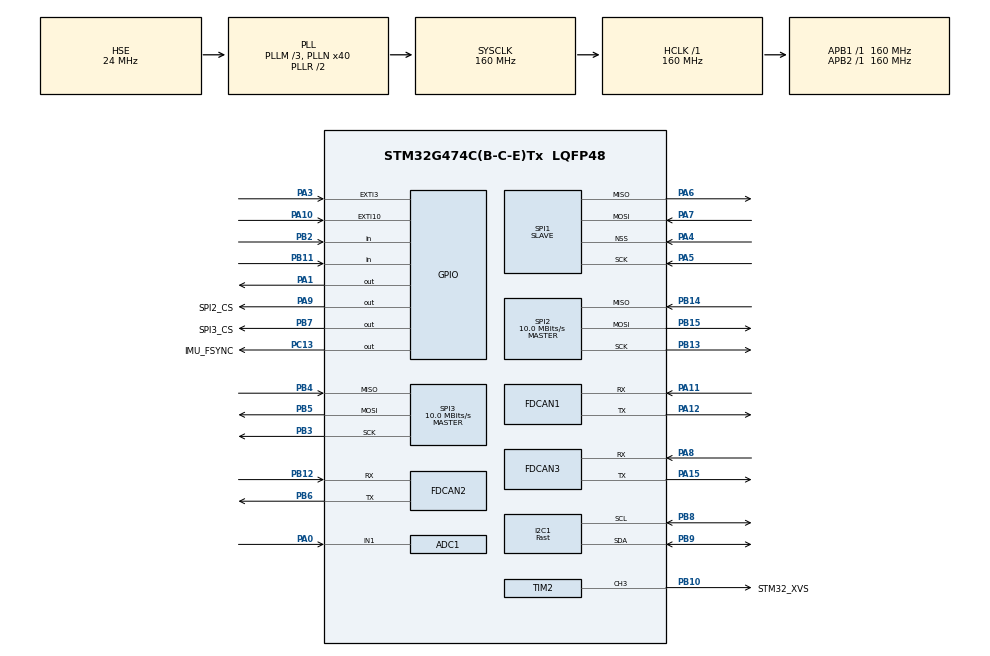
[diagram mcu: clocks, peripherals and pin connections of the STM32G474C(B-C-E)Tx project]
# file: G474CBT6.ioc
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ADC1.Channel-0\#ChannelRegularConversion=ADC_CHANNEL_1
ADC1.NbrOfConversion=1
ADC1.NbrOfConversionFlag=1
ADC1.OffsetNumber-0\#ChannelRegularConversion=ADC_OFFSET_NONE
ADC1.Rank-0\#ChannelRegularConversion=1
ADC1.Resolution=ADC_RESOLUTION_10B
ADC1.SamplingTime-0\#ChannelRegularConversion=ADC_SAMPLETIME_2CYCLES_5
ADC1.master=1
Dma.I2C1_RX.1.Direction=DMA_PERIPH_TO_MEMORY
Dma.I2C1_RX.1.EventEnable=DISABLE
Dma.I2C1_RX.1.Instance=DMA1_Channel2
Dma.I2C1_RX.1.MemDataAlignment=DMA_MDATAALIGN_BYTE
Dma.I2C1_RX.1.MemInc=DMA_MINC_ENABLE
Dma.I2C1_RX.1.Mode=DMA_NORMAL
Dma.I2C1_RX.1.PeriphDataAlignment=DMA_PDATAALIGN_BYTE
Dma.I2C1_RX.1.PeriphInc=DMA_PINC_DISABLE
Dma.I2C1_RX.1.Polarity=HAL_DMAMUX_REQ_GEN_RISING
Dma.I2C1_RX.1.Priority=DMA_PRIORITY_LOW
Dma.I2C1_RX.1.RequestNumber=1
Dma.I2C1_RX.1.SignalID=NONE
Dma.I2C1_RX.1.SyncEnable=DISABLE
Dma.I2C1_RX.1.SyncPolarity=HAL_DMAMUX_SYNC_NO_EVENT
Dma.I2C1_RX.1.SyncRequestNumber=1
Dma.I2C1_RX.1.SyncSignalID=NONE
Dma.Request0=SPI1_TX
Dma.Request1=I2C1_RX
Dma.Request2=SPI3_TX
Dma.Request3=SPI2_TX
Dma.Request4=SPI1_RX
Dma.Request5=SPI2_RX
Dma.Request6=SPI3_RX
Dma.SPI1_RX.4.Direction=DMA_PERIPH_TO_MEMORY
Dma.SPI1_RX.4.EventEnable=DISABLE
Dma.SPI1_RX.4.Instance=DMA1_Channel6
Dma.SPI1_RX.4.MemDataAlignment=DMA_MDATAALIGN_HALFWORD
Dma.SPI1_RX.4.MemInc=DMA_MINC_ENABLE
Dma.SPI1_RX.4.Mode=DMA_NORMAL
Dma.SPI1_RX.4.PeriphDataAlignment=DMA_PDATAALIGN_HALFWORD
Dma.SPI1_RX.4.PeriphInc=DMA_PINC_DISABLE
Dma.SPI1_RX.4.Polarity=HAL_DMAMUX_REQ_GEN_RISING
Dma.SPI1_RX.4.Priority=DMA_PRIORITY_LOW
Dma.SPI1_RX.4.RequestNumber=1
Dma.SPI1_RX.4.SignalID=NONE
Dma.SPI1_RX.4.SyncEnable=DISABLE
Dma.SPI1_RX.4.SyncPolarity=HAL_DMAMUX_SYNC_NO_EVENT
Dma.SPI1_RX.4.SyncRequestNumber=1
Dma.SPI1_RX.4.SyncSignalID=NONE
Dma.SPI1_TX.0.Direction=DMA_MEMORY_TO_PERIPH
Dma.SPI1_TX.0.EventEnable=DISABLE
Dma.SPI1_TX.0.Instance=DMA1_Channel1
Dma.SPI1_TX.0.MemDataAlignment=DMA_MDATAALIGN_HALFWORD
Dma.SPI1_TX.0.MemInc=DMA_MINC_ENABLE
Dma.SPI1_TX.0.Mode=DMA_NORMAL
Dma.SPI1_TX.0.PeriphDataAlignment=DMA_PDATAALIGN_HALFWORD
Dma.SPI1_TX.0.PeriphInc=DMA_PINC_DISABLE
Dma.SPI1_TX.0.Polarity=HAL_DMAMUX_REQ_GEN_RISING
Dma.SPI1_TX.0.Priority=DMA_PRIORITY_LOW
Dma.SPI1_TX.0.RequestNumber=1
Dma.SPI1_TX.0.SignalID=NONE
Dma.SPI1_TX.0.SyncEnable=DISABLE
Dma.SPI1_TX.0.SyncPolarity=HAL_DMAMUX_SYNC_NO_EVENT
Dma.SPI1_TX.0.SyncRequestNumber=1
Dma.SPI1_TX.0.SyncSignalID=NONE
Dma.SPI2_RX.5.Direction=DMA_PERIPH_TO_MEMORY
Dma.SPI2_RX.5.EventEnable=DISABLE
Dma.SPI2_RX.5.Instance=DMA1_Channel7
Dma.SPI2_RX.5.MemDataAlignment=DMA_MDATAALIGN_BYTE
Dma.SPI2_RX.5.MemInc=DMA_MINC_ENABLE
Dma.SPI2_RX.5.Mode=DMA_NORMAL
Dma.SPI2_RX.5.PeriphDataAlignment=DMA_PDATAALIGN_BYTE
Dma.SPI2_RX.5.PeriphInc=DMA_PINC_DISABLE
Dma.SPI2_RX.5.Polarity=HAL_DMAMUX_REQ_GEN_RISING
Dma.SPI2_RX.5.Priority=DMA_PRIORITY_LOW
Dma.SPI2_RX.5.RequestNumber=1
Dma.SPI2_RX.5.SignalID=NONE
Dma.SPI2_RX.5.SyncEnable=DISABLE
Dma.SPI2_RX.5.SyncPolarity=HAL_DMAMUX_SYNC_NO_EVENT
Dma.SPI2_RX.5.SyncRequestNumber=1
Dma.SPI2_RX.5.SyncSignalID=NONE
Dma.SPI2_TX.3.Direction=DMA_MEMORY_TO_PERIPH
Dma.SPI2_TX.3.EventEnable=DISABLE
Dma.SPI2_TX.3.Instance=DMA1_Channel4
Dma.SPI2_TX.3.MemDataAlignment=DMA_MDATAALIGN_BYTE
Dma.SPI2_TX.3.MemInc=DMA_MINC_ENABLE
Dma.SPI2_TX.3.Mode=DMA_NORMAL
Dma.SPI2_TX.3.PeriphDataAlignment=DMA_PDATAALIGN_BYTE
Dma.SPI2_TX.3.PeriphInc=DMA_PINC_DISABLE
Dma.SPI2_TX.3.Polarity=HAL_DMAMUX_REQ_GEN_RISING
Dma.SPI2_TX.3.Priority=DMA_PRIORITY_LOW
Dma.SPI2_TX.3.RequestNumber=1
Dma.SPI2_TX.3.SignalID=NONE
Dma.SPI2_TX.3.SyncEnable=DISABLE
Dma.SPI2_TX.3.SyncPolarity=HAL_DMAMUX_SYNC_NO_EVENT
Dma.SPI2_TX.3.SyncRequestNumber=1
Dma.SPI2_TX.3.SyncSignalID=NONE
Dma.SPI3_RX.6.Direction=DMA_PERIPH_TO_MEMORY
Dma.SPI3_RX.6.EventEnable=DISABLE
Dma.SPI3_RX.6.Instance=DMA1_Channel8
Dma.SPI3_RX.6.MemDataAlignment=DMA_MDATAALIGN_BYTE
Dma.SPI3_RX.6.MemInc=DMA_MINC_ENABLE
Dma.SPI3_RX.6.Mode=DMA_NORMAL
Dma.SPI3_RX.6.PeriphDataAlignment=DMA_PDATAALIGN_BYTE
Dma.SPI3_RX.6.PeriphInc=DMA_PINC_DISABLE
Dma.SPI3_RX.6.Polarity=HAL_DMAMUX_REQ_GEN_RISING
Dma.SPI3_RX.6.Priority=DMA_PRIORITY_LOW
Dma.SPI3_RX.6.RequestNumber=1
Dma.SPI3_RX.6.SignalID=NONE
Dma.SPI3_RX.6.SyncEnable=DISABLE
Dma.SPI3_RX.6.SyncPolarity=HAL_DMAMUX_SYNC_NO_EVENT
Dma.SPI3_RX.6.SyncRequestNumber=1
Dma.SPI3_RX.6.SyncSignalID=NONE
Dma.SPI3_TX.2.Direction=DMA_MEMORY_TO_PERIPH
Dma.SPI3_TX.2.EventEnable=DISABLE
Dma.SPI3_TX.2.Instance=DMA1_Channel3
Dma.SPI3_TX.2.MemDataAlignment=DMA_MDATAALIGN_BYTE
Dma.SPI3_TX.2.MemInc=DMA_MINC_ENABLE
Dma.SPI3_TX.2.Mode=DMA_NORMAL
Dma.SPI3_TX.2.PeriphDataAlignment=DMA_PDATAALIGN_BYTE
Dma.SPI3_TX.2.PeriphInc=DMA_PINC_DISABLE
Dma.SPI3_TX.2.Polarity=HAL_DMAMUX_REQ_GEN_RISING
Dma.SPI3_TX.2.Priority=DMA_PRIORITY_LOW
Dma.SPI3_TX.2.RequestNumber=1
Dma.SPI3_TX.2.SignalID=NONE
Dma.SPI3_TX.2.SyncEnable=DISABLE
Dma.SPI3_TX.2.SyncPolarity=HAL_DMAMUX_SYNC_NO_EVENT
Dma.SPI3_TX.2.SyncRequestNumber=1
Dma.SPI3_TX.2.SyncSignalID=NONE
FDCAN1.CalculateBaudRateNominal=500000
FDCAN1.CalculateTimeBitNominal=2000
FDCAN1.CalculateTimeQuantumNominal=25.0
FDCAN1.DataPrescaler=2
FDCAN1.DataSyncJumpWidth=3
FDCAN1.DataTimeSeg1=16
FDCAN1.DataTimeSeg2=3
FDCAN1.FrameFormat=FDCAN_FRAME_FD_BRS
FDCAN1.NominalPrescaler=2
FDCAN1.NominalSyncJumpWidth=10
FDCAN1.NominalTimeSeg1=69
FDCAN1.NominalTimeSeg2=10
FDCAN2.CalculateBaudRateNominal=500000
FDCAN2.CalculateTimeBitNominal=2000
FDCAN2.CalculateTimeQuantumNominal=25.0
FDCAN2.DataPrescaler=2
FDCAN2.DataSyncJumpWidth=3
FDCAN2.DataTimeSeg1=16
FDCAN2.DataTimeSeg2=3
FDCAN2.FrameFormat=FDCAN_FRAME_FD_BRS
FDCAN2.NominalPrescaler=2
FDCAN2.NominalSyncJumpWidth=10
FDCAN2.NominalTimeSeg1=69
FDCAN2.NominalTimeSeg2=10
FDCAN3.CalculateBaudRateNominal=500000
FDCAN3.CalculateTimeBitNominal=2000
FDCAN3.CalculateTimeQuantumNominal=25.0
FDCAN3.DataPrescaler=2
FDCAN3.DataSyncJumpWidth=3
FDCAN3.DataTimeSeg1=16
FDCAN3.DataTimeSeg2=3
FDCAN3.FrameFormat=FDCAN_FRAME_FD_BRS
FDCAN3.NominalPrescaler=2
FDCAN3.NominalSyncJumpWidth=10
FDCAN3.NominalTimeSeg1=69
FDCAN3.NominalTimeSeg2=10
I2C1.I2C_Speed_Mode=I2C_Fast
I2C1.Timing=0x10F32A82
Mcu.Family=STM32G4
Mcu.Name=STM32G474C(B-C-E)Tx
Mcu.Package=LQFP48
NVIC.DMA1_Channel1_IRQn=true\:2\:0\:true\:false\:true\:false\:true\:true
NVIC.DMA1_Channel2_IRQn=true\:2\:0\:true\:false\:true\:false\:true\:true
NVIC.DMA1_Channel3_IRQn=true\:2\:0\:true\:false\:true\:false\:true\:true
NVIC.DMA1_Channel4_IRQn=true\:2\:0\:true\:false\:true\:false\:true\:true
NVIC.DMA1_Channel6_IRQn=true\:2\:0\:true\:false\:true\:false\:true\:true
NVIC.DMA1_Channel7_IRQn=true\:2\:0\:true\:false\:true\:false\:true\:true
NVIC.DMA1_Channel8_IRQn=true\:2\:0\:true\:false\:true\:false\:true\:true
NVIC.EXTI15_10_IRQn=true\:2\:0\:true\:false\:true\:true\:true\:true
NVIC.EXTI3_IRQn=true\:2\:0\:true\:false\:true\:true\:true\:true
NVIC.FDCAN1_IT0_IRQn=true\:1\:0\:true\:false\:true\:true\:true\:true
NVIC.FDCAN1_IT1_IRQn=true\:2\:0\:true\:false\:true\:true\:true\:true
NVIC.FDCAN2_IT0_IRQn=true\:1\:0\:true\:false\:true\:true\:true\:true
NVIC.FDCAN2_IT1_IRQn=true\:2\:0\:true\:false\:true\:true\:true\:true
NVIC.FDCAN3_IT0_IRQn=true\:1\:0\:true\:false\:true\:true\:true\:true
NVIC.FDCAN3_IT1_IRQn=true\:2\:0\:true\:false\:true\:true\:true\:true
NVIC.I2C1_ER_IRQn=true\:2\:0\:true\:false\:true\:true\:true\:true
NVIC.I2C1_EV_IRQn=true\:2\:0\:true\:false\:true\:true\:true\:true
NVIC.PriorityGroup=NVIC_PRIORITYGROUP_4
NVIC.SPI1_IRQn=true\:2\:0\:true\:false\:true\:true\:true\:true
NVIC.SPI2_IRQn=true\:2\:0\:true\:false\:true\:true\:true\:true
NVIC.SPI3_IRQn=true\:2\:0\:true\:false\:true\:true\:true\:true
NVIC.TIM2_IRQn=true\:0\:0\:false\:false\:true\:true\:true\:true
NVIC.TIM6_DAC_IRQn=true\:3\:0\:true\:false\:true\:true\:true\:true
PA0.Mode=IN1-Single-Ended
PA0.Signal=ADC1_IN1
PA1.GPIO_ModeDefaultOutputPP=GPIO_MODE_OUTPUT_PP
PA1.GPIO_PuPd=GPIO_NOPULL
PA1.GPIO_Speed=GPIO_SPEED_FREQ_VERY_HIGH
PA1.Signal=GPIO_Output
PA10.GPIO_ModeDefaultEXTI=GPIO_MODE_IT_FALLING
PA10.Signal=GPXTI10
PA11.GPIO_Speed=GPIO_SPEED_FREQ_VERY_HIGH
PA11.Mode=FDCAN_Activate
PA11.Signal=FDCAN1_RX
PA12.GPIO_Speed=GPIO_SPEED_FREQ_VERY_HIGH
PA12.Mode=FDCAN_Activate
PA12.Signal=FDCAN1_TX
PA13.Mode=Serial_Wire
PA13.Signal=SYS_JTMS-SWDIO
PA14.Mode=Serial_Wire
PA14.Signal=SYS_JTCK-SWCLK
PA15.GPIO_Speed=GPIO_SPEED_FREQ_VERY_HIGH
PA15.Mode=FDCAN_Activate
PA15.Signal=FDCAN3_TX
PA3.GPIO_ModeDefaultEXTI=GPIO_MODE_IT_FALLING
PA3.Signal=GPXTI3
PA4.GPIO_Speed=GPIO_SPEED_FREQ_VERY_HIGH
PA4.Mode=NSS_Signal_Hard_Input
PA4.Signal=SPI1_NSS
PA5.GPIO_Speed=GPIO_SPEED_FREQ_VERY_HIGH
PA5.Mode=Full_Duplex_Slave
PA5.Signal=SPI1_SCK
PA6.GPIO_Speed=GPIO_SPEED_FREQ_VERY_HIGH
PA6.Mode=Full_Duplex_Slave
PA6.Signal=SPI1_MISO
PA7.GPIO_Speed=GPIO_SPEED_FREQ_VERY_HIGH
PA7.Mode=Full_Duplex_Slave
PA7.Signal=SPI1_MOSI
PA8.GPIO_Speed=GPIO_SPEED_FREQ_VERY_HIGH
PA8.Mode=FDCAN_Activate
PA8.Signal=FDCAN3_RX
PA9.GPIO_Label=SPI2_CS
PA9.GPIO_ModeDefaultOutputPP=GPIO_MODE_OUTPUT_PP
PA9.GPIO_PuPd=GPIO_NOPULL
PA9.GPIO_Speed=GPIO_SPEED_FREQ_VERY_HIGH
PA9.PinState=GPIO_PIN_SET
PA9.Signal=GPIO_Output
PB10.GPIO_Label=STM32_XVS
PB10.GPIO_ModeDefaultPP=GPIO_MODE_AF_OD
PB10.GPIO_Speed=GPIO_SPEED_FREQ_VERY_HIGH
PB10.Signal=S_TIM2_CH3
PB11.Signal=GPIO_Input
PB12.GPIO_Speed=GPIO_SPEED_FREQ_VERY_HIGH
PB12.Mode=FDCAN_Activate
PB12.Signal=FDCAN2_RX
PB13.GPIO_Speed=GPIO_SPEED_FREQ_VERY_HIGH
PB13.Mode=Full_Duplex_Master
PB13.Signal=SPI2_SCK
PB14.GPIO_Speed=GPIO_SPEED_FREQ_VERY_HIGH
PB14.Mode=Full_Duplex_Master
PB14.Signal=SPI2_MISO
PB15.GPIO_Speed=GPIO_SPEED_FREQ_VERY_HIGH
PB15.Mode=Full_Duplex_Master
PB15.Signal=SPI2_MOSI
PB2.Signal=GPIO_Input
PB3.GPIO_Speed=GPIO_SPEED_FREQ_VERY_HIGH
PB3.Mode=Full_Duplex_Master
PB3.Signal=SPI3_SCK
PB4.GPIO_Speed=GPIO_SPEED_FREQ_VERY_HIGH
PB4.Mode=Full_Duplex_Master
PB4.Signal=SPI3_MISO
PB5.GPIO_Speed=GPIO_SPEED_FREQ_VERY_HIGH
PB5.Mode=Full_Duplex_Master
PB5.Signal=SPI3_MOSI
PB6.GPIO_Speed=GPIO_SPEED_FREQ_VERY_HIGH
PB6.Mode=FDCAN_Activate
PB6.Signal=FDCAN2_TX
PB7.GPIO_FM7=__NULL
PB7.GPIO_Label=SPI3_CS
PB7.GPIO_ModeDefaultOutputPP=GPIO_MODE_OUTPUT_PP
PB7.GPIO_Speed=GPIO_SPEED_FREQ_VERY_HIGH
PB7.PinState=GPIO_PIN_SET
PB7.Signal=GPIO_Output
PB8-BOOT0.GPIO_Speed=GPIO_SPEED_FREQ_VERY_HIGH
PB8-BOOT0.Mode=I2C
PB8-BOOT0.Signal=I2C1_SCL
PB9.GPIO_Speed=GPIO_SPEED_FREQ_VERY_HIGH
PB9.Mode=I2C
PB9.Signal=I2C1_SDA
PC13.GPIO_Label=IMU_FSYNC
PC13.GPIO_Speed=GPIO_SPEED_FREQ_LOW
PC13.Signal=GPIO_Output
PF0-OSC_IN.Mode=HSE-External-Oscillator
PF0-OSC_IN.Signal=RCC_OSC_IN
PF1-OSC_OUT.Mode=HSE-External-Oscillator
PF1-OSC_OUT.Signal=RCC_OSC_OUT
ProjectManager.HeapSize=0x200
ProjectManager.StackSize=0x400
ProjectManager.TargetToolchain=STM32CubeIDE
RCC.ADC12Freq_Value=160000000
RCC.ADC345Freq_Value=160000000
RCC.AHBFreq_Value=160000000
RCC.APB1Freq_Value=160000000
RCC.APB1TimFreq_Value=160000000
RCC.APB2Freq_Value=160000000
RCC.APB2TimFreq_Value=160000000
RCC.CK48CLockSelection=RCC_USBCLKSOURCE_HSI48
RCC.CortexFreq_Value=160000000
RCC.EXTERNAL_CLOCK_VALUE=12288000
RCC.FDCANCLockSelection=RCC_FDCANCLKSOURCE_PLL
RCC.HCLKFreq_Value=160000000
RCC.HSE_VALUE=24000000
RCC.HSI48_VALUE=48000000
RCC.HSI_VALUE=16000000
RCC.LSE_VALUE=32768
RCC.PLLM=RCC_PLLM_DIV3
RCC.PLLN=40
RCC.PLLQ=RCC_PLLQ_DIV4
RCC.PLLSourceVirtual=RCC_PLLSOURCE_HSE
RCC.SYSCLKFreq_VALUE=160000000
RCC.SYSCLKSource=RCC_SYSCLKSOURCE_PLLCLK
RCC.USBFreq_Value=48000000
RCC.VCOOutputFreq_Value=320000000
SH.S_TIM2_CH3.0=TIM2_CH3,Output Compare3 CH3
SPI1.DataSize=SPI_DATASIZE_16BIT
SPI1.Direction=SPI_DIRECTION_2LINES
SPI1.Mode=SPI_MODE_SLAVE
SPI1.VirtualNSS=VM_NSSHARD
SPI1.VirtualType=VM_SLAVE
SPI2.BaudRatePrescaler=SPI_BAUDRATEPRESCALER_16
SPI2.CalculateBaudRate=10.0 MBits/s
SPI2.DataSize=SPI_DATASIZE_8BIT
SPI2.Direction=SPI_DIRECTION_2LINES
SPI2.Mode=SPI_MODE_MASTER
SPI2.VirtualType=VM_MASTER
SPI3.BaudRatePrescaler=SPI_BAUDRATEPRESCALER_16
SPI3.CalculateBaudRate=10.0 MBits/s
SPI3.DataSize=SPI_DATASIZE_8BIT
SPI3.Direction=SPI_DIRECTION_2LINES
SPI3.Mode=SPI_MODE_MASTER
SPI3.VirtualType=VM_MASTER
TIM2.Channel-Output\ Compare3\ CH3=TIM_CHANNEL_3
TIM2.Prescaler=159
TIM6.PeriodNoDither=999
TIM6.Prescaler=159
VP_CRC_VS_CRC.Mode=CRC_Activate
VP_SYS_VS_DBSignals.Mode=DisableDeadBatterySignals
VP_TIM2_VS_ClockSourceINT.Mode=Internal
VP_TIM6_VS_ClockSourceINT.Mode=Enable_Timer
board=custom

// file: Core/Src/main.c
/* USER CODE BEGIN Header */
/**
  ******************************************************************************
  * @file           : main.c
  * @brief          : Main program body
  ******************************************************************************
  * @attention
  *
  * Copyright (c) 2026 STMicroelectronics.
  * All rights reserved.
  *
  * This software is licensed under terms that can be found in the LICENSE file
  * in the root directory of this software component.
  * If no LICENSE file comes with this software, it is provided AS-IS.
  *
  ******************************************************************************
  */
/* USER CODE END Header */
#include "main.h"
#include "adc.h"
#include "crc.h"
#include "dma.h"
#include "fdcan.h"
#include "i2c.h"
#include "spi.h"
#include "tim.h"
#include "gpio.h"

/* USER CODE BEGIN Includes */
#include "glove_app.h"
/* USER CODE END Includes */

/* USER CODE BEGIN PV */
/** Error_Handler 黑匣子：记录调用点的返回地址。跑飞后在 Live Expressions
    看这个值，拿地址到 Debug/G474CBT6.map（或反汇编窗口）里查函数名。 */
volatile uint32_t g_error_handler_lr = 0u;
/* USER CODE END PV */

void SystemClock_Config(void);

int main(void)
{

  /* USER CODE BEGIN 1 */
	//第一次烧录进入调试跑一下这一段便可以一直用
	//DBANK=0（单 bank，128KB 连续）：G474CB 出厂 DBANK=1 时 128KB 分两个 64KB
	//bank 且地址不连续（Bank2 在 0x08040000），镜像一超 64KB 就烧不进去。
	//本段代码位于 flash 最前部（两种 bank 模式映射相同），可安全自愈。
	if ((FLASH->OPTR & FLASH_OPTR_nSWBOOT0) || !(FLASH->OPTR & FLASH_OPTR_nBOOT0)
	    || (FLASH->OPTR & FLASH_OPTR_DBANK)) {
	    HAL_FLASH_Unlock(); HAL_FLASH_OB_Unlock();
	    FLASH_OBProgramInitTypeDef ob = {0};
	    ob.OptionType = OPTIONBYTE_USER;
	    ob.USERType   = OB_USER_nSWBOOT0 | OB_USER_nBOOT0 | OB_USER_DBANK;
	    ob.USERConfig = OB_BOOT0_FROM_OB | OB_nBOOT0_SET   /* nSWBOOT0=0, nBOOT0=1 */
	                  | OB_DBANK_128_BITS;                 /* DBANK=0 单 bank      */
	    HAL_FLASHEx_OBProgram(&ob);
	    HAL_FLASH_OB_Launch();   /* 触发重载，芯片复位 */
	}
  /* USER CODE END 1 */

  /* MCU Configuration--------------------------------------------------------*/

  /* Reset of all peripherals, Initializes the Flash interface and the Systick. */
  HAL_Init();

  /* Configure the system clock */
  SystemClock_Config();

  /* Initialize all configured peripherals */
  MX_GPIO_Init();
  MX_DMA_Init();
  MX_FDCAN1_Init();
  MX_FDCAN2_Init();
  MX_FDCAN3_Init();
  MX_SPI1_Init();
  MX_SPI2_Init();
  MX_SPI3_Init();
  MX_ADC1_Init();
  MX_I2C1_Init();
  MX_TIM6_Init();
  MX_CRC_Init();
  MX_TIM2_Init();
  /* USER CODE BEGIN 2 */
  GloveApp_Init();
  /* USER CODE END 2 */

  /* Infinite loop */
  while (1)
  {

    /* USER CODE BEGIN 3 */
    GloveApp_Loop();
  }
  /* USER CODE END 3 */
}

void SystemClock_Config(void)
{
  RCC_OscInitTypeDef RCC_OscInitStruct = {0};
  RCC_ClkInitTypeDef RCC_ClkInitStruct = {0};

  /** Configure the main internal regulator output voltage
  */
  HAL_PWREx_ControlVoltageScaling(PWR_REGULATOR_VOLTAGE_SCALE1_BOOST);

  /** Initializes the RCC Oscillators according to the specified parameters
  * in the RCC_OscInitTypeDef structure.
  */
  RCC_OscInitStruct.OscillatorType = RCC_OSCILLATORTYPE_HSE;
  RCC_OscInitStruct.HSEState = RCC_HSE_ON;
  RCC_OscInitStruct.PLL.PLLState = RCC_PLL_ON;
  RCC_OscInitStruct.PLL.PLLSource = RCC_PLLSOURCE_HSE;
  RCC_OscInitStruct.PLL.PLLM = RCC_PLLM_DIV3;
  RCC_OscInitStruct.PLL.PLLN = 40;
  RCC_OscInitStruct.PLL.PLLP = RCC_PLLP_DIV2;
  RCC_OscInitStruct.PLL.PLLQ = RCC_PLLQ_DIV4;
  RCC_OscInitStruct.PLL.PLLR = RCC_PLLR_DIV2;
  if (HAL_RCC_OscConfig(&RCC_OscInitStruct) != HAL_OK)
  {
    Error_Handler();
  }

  /** Initializes the CPU, AHB and APB buses clocks
  */
  RCC_ClkInitStruct.ClockType = RCC_CLOCKTYPE_HCLK|RCC_CLOCKTYPE_SYSCLK
                              |RCC_CLOCKTYPE_PCLK1|RCC_CLOCKTYPE_PCLK2;
  RCC_ClkInitStruct.SYSCLKSource = RCC_SYSCLKSOURCE_PLLCLK;
  RCC_ClkInitStruct.AHBCLKDivider = RCC_SYSCLK_DIV1;
  RCC_ClkInitStruct.APB1CLKDivider = RCC_HCLK_DIV1;
  RCC_ClkInitStruct.APB2CLKDivider = RCC_HCLK_DIV1;

  if (HAL_RCC_ClockConfig(&RCC_ClkInitStruct, FLASH_LATENCY_4) != HAL_OK)
  {
    Error_Handler();
  }
}

void Error_Handler(void)
{
  /* USER CODE BEGIN Error_Handler_Debug */
  /* 记下是谁调进来的（返回地址），Live Expressions 看 g_error_handler_lr，
     地址到 .map 文件里查函数名。只记第一次（最接近根因）。 */
  if (g_error_handler_lr == 0u)
  {
    g_error_handler_lr = (uint32_t)__builtin_return_address(0);
  }
  __disable_irq();
  while (1)
  {
  }
  /* USER CODE END Error_Handler_Debug */
}
